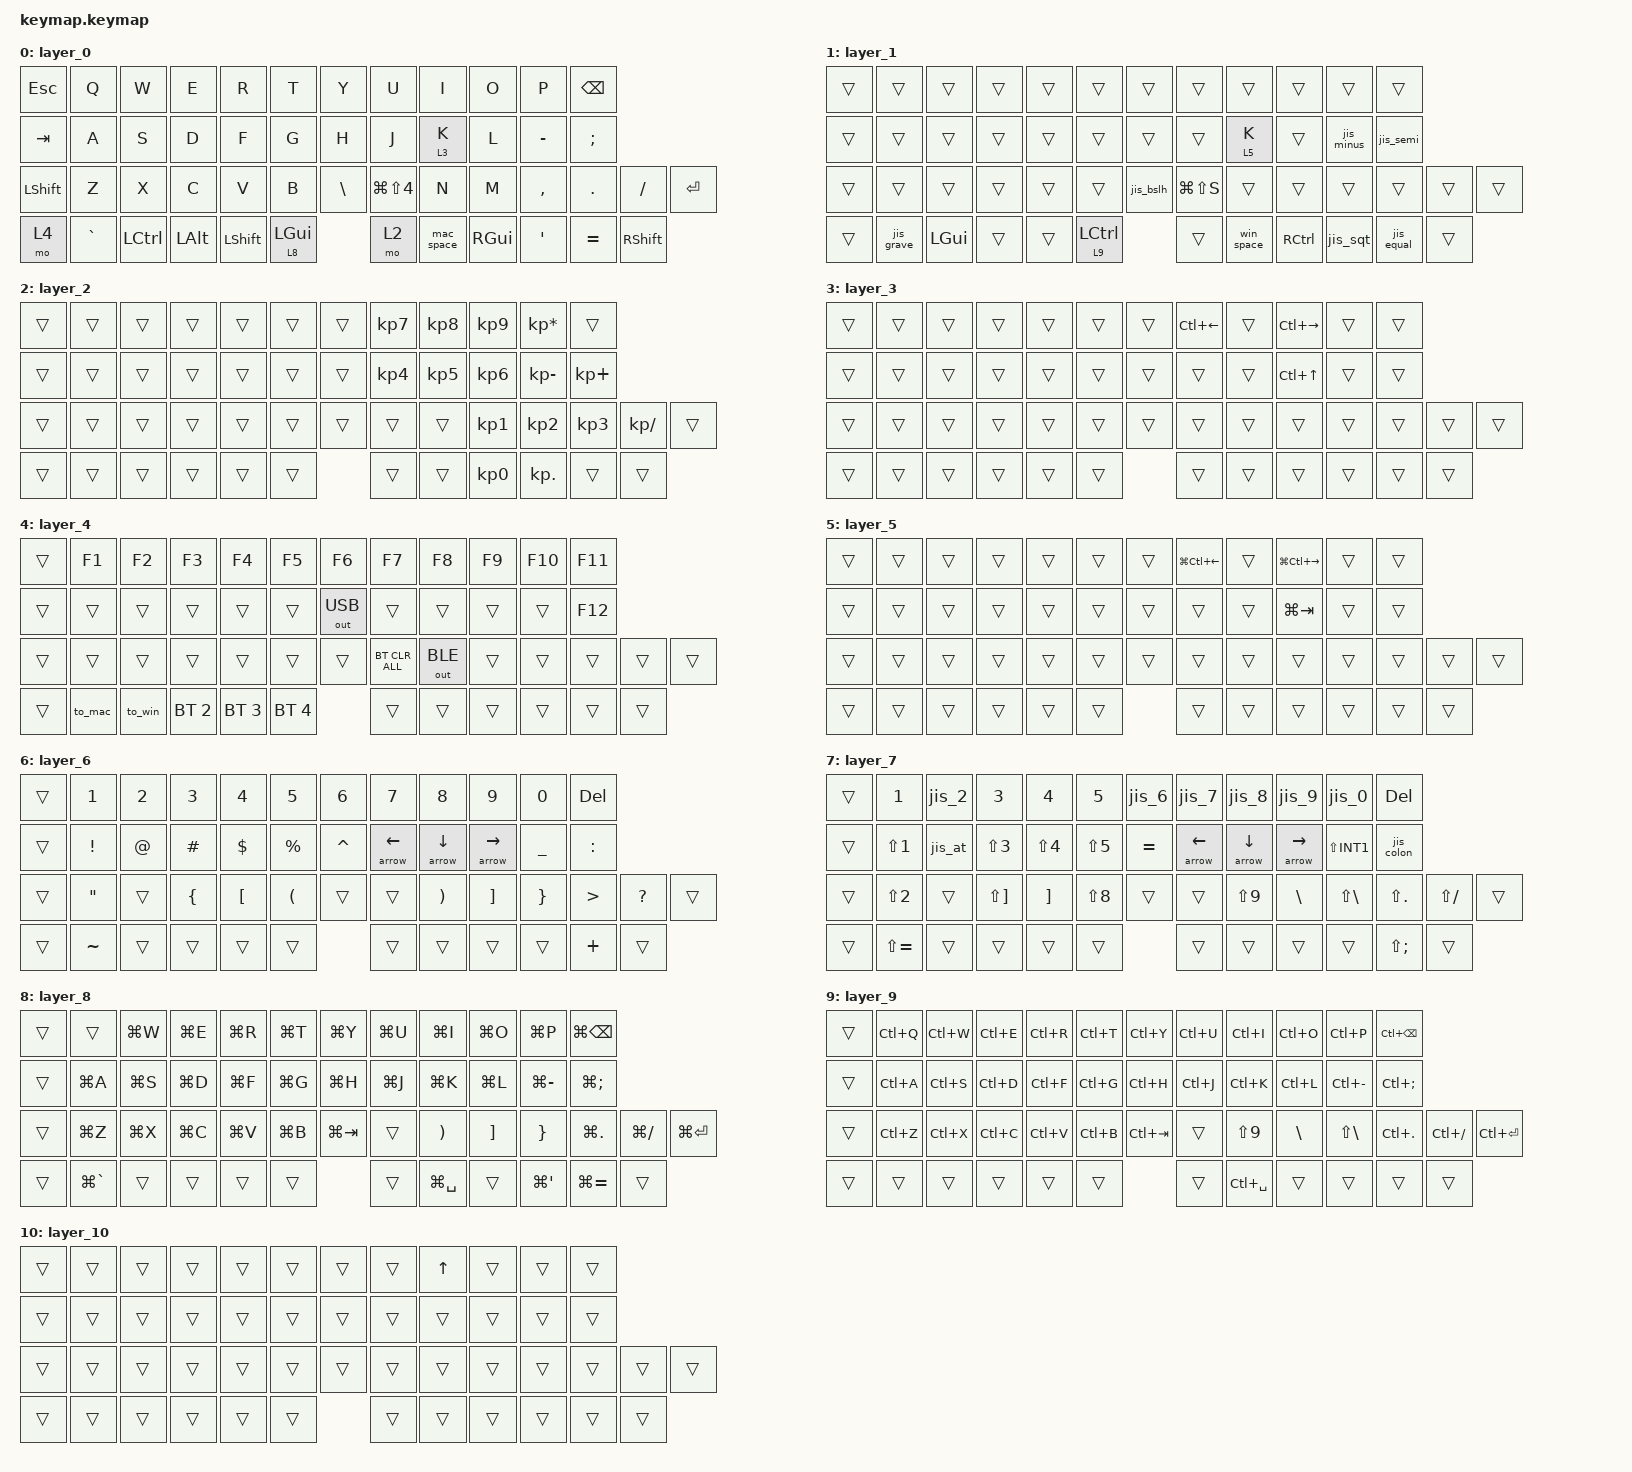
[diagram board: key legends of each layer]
#include <behaviors.dtsi>
#include <dt-bindings/zmk/bt.h>
#include <dt-bindings/zmk/keys.h>
#include <dt-bindings/zmk/modifiers.h>
#include <dt-bindings/zmk/outputs.h>
#include <dt-bindings/zmk/pointing.h>

/*
 * Windows is driven with a JIS (106/109) host layout, so the same HID code
 * prints a different symbol there than it does on the Mac. The Windows profile
 * gets its own copy of every layer whose symbols depend on the host: layer 7
 * mirrors layer 6, and layer 9 mirrors layer 8. Layer 2 is shared, because its
 * number pad uses keypad codes that mean the same thing under either layout.
 *
 * The unshifted half is a plain substitution:
 *
 *   want  Mac (US)   Win (JIS)      want  Mac (US)  Win (JIS)
 *   ----  ---------  ---------      ----  --------  ---------
 *    @    LS(N2)     LBKT            [    LBKT      RBKT
 *    ^    LS(N6)     EQUAL           ]    RBKT      BSLH
 *    &    LS(N7)     LS(N6)          {    LS(LBKT)  LS(RBKT)
 *    *    LS(N8)     LS(SQT)         }    LS(RBKT)  LS(BSLH)
 *    (    LS(N9)     LS(N8)          \    BSLH      INT1
 *    )    LS(N0)     LS(N9)          _    LS(MINUS) LS(INT1)
 *    '    SQT        LS(N7)          |    LS(BSLH)  LS(INT3)
 *    =    EQUAL      LS(MINUS)       ~    LS(GRAVE) LS(EQUAL)
 *    +    LS(SEMI)   LS(SEMI)        `    GRAVE     LS(LBKT)
 *    :    LS(SEMI)   SQT             "    LS(SQT)   LS(N2)
 *
 * The shifted half cannot be, because JIS pairs the two halves of a key
 * differently: Shift+"-" is "=" on JIS but "_" on US, Shift+";" is "+" on JIS
 * but ":" on US. Every key whose pair differs is therefore a mod-morph, so that
 * adding Shift produces what a US keyboard would produce. Where the JIS spelling
 * of the shifted symbol is itself a shifted code the Shift stays on the report
 * (keep-mods); where it is an unshifted code the Shift is masked off.
 *
 * Note also that on JIS the bare GRAVE code is the 半角/全角 key, not a
 * backtick, so the Windows profile reaches the backtick through LS(LBKT).
 */

/ {
    behaviors {
        // Tap for K, hold to reach the scroll layer while the thumb stays on the
        // ball. require-prior-idle-ms keeps the hold from firing mid-word.
        scroll_k: scroll_k {
            compatible = "zmk,behavior-hold-tap";
            #binding-cells = <2>;
            flavor = "tap-preferred";
            tapping-term-ms = <200>;
            quick-tap-ms = <200>;
            require-prior-idle-ms = <150>;
            bindings = <&mo>, <&kp>;
        };

        // Tap for space, hold to reach the digit layer under the right thumb.
        // require-prior-idle-ms keeps the hold from firing on the space that
        // ends a word. The hold is nav_hold rather than a bare &mo so that
        // letting go also drops the arrow latch.
        nav_space: nav_space {
            compatible = "zmk,behavior-hold-tap";
            #binding-cells = <2>;
            flavor = "balanced";
            tapping-term-ms = <150>;
            quick-tap-ms = <200>;
            require-prior-idle-ms = <150>;
            bindings = <&nav_hold>, <&kp>;
        };

        // Switch the arrow latch (layer 10) on and off. A plain &tog would flip
        // it, so the second arrow in a run would turn it back off.
        latch_on: latch_on {
            compatible = "zmk,behavior-toggle-layer";
            #binding-cells = <1>;
            toggle-mode = "on";
        };

        latch_off: latch_off {
            compatible = "zmk,behavior-toggle-layer";
            #binding-cells = <1>;
            toggle-mode = "off";
        };

        // The left thumb Cmd/Ctrl key: hold for the Cmd or Ctrl layer, tap alone
        // for the bare modifier. A plain &mo sends nothing when tapped, which
        // kills every launcher bound to a double-tapped modifier even though
        // Cmd+C and friends still work through the layer.
        //
        // hold-preferred because this is a modifier: any key pressed while it is
        // down means a shortcut, however fast the roll. quick-tap-ms makes the
        // second press of a double tap a tap straight away. No
        // require-prior-idle-ms, since Cmd follows typing all the time.
        thumb_mod: thumb_mod {
            compatible = "zmk,behavior-hold-tap";
            #binding-cells = <2>;
            flavor = "hold-preferred";
            tapping-term-ms = <200>;
            quick-tap-ms = <200>;
            bindings = <&mo>, <&kp>;
        };

        // Space on the Mac profile. With Ctrl or Cmd already down the press is a
        // shortcut, never a layer hold, so skip the hold-tap and send the space
        // straight away. keep-mods leaves the modifier on the report so the host
        // still sees Ctrl+Space / Cmd+Space.
        mac_space: mac_space {
            compatible = "zmk,behavior-mod-morph";
            #binding-cells = <0>;
            bindings = <&nav_space 6 SPACE>, <&kp SPACE>;
            mods = <(MOD_LCTL|MOD_RCTL|MOD_LGUI|MOD_RGUI)>;
            keep-mods = <(MOD_LCTL|MOD_RCTL|MOD_LGUI|MOD_RGUI)>;
        };

        // Space on the Windows profile. Same rule as mac_space, holding the JIS
        // copy of the digit layer instead.
        win_space: win_space {
            compatible = "zmk,behavior-mod-morph";
            #binding-cells = <0>;
            bindings = <&nav_space 7 SPACE>, <&kp SPACE>;
            mods = <(MOD_LCTL|MOD_RCTL|MOD_LGUI|MOD_RGUI)>;
            keep-mods = <(MOD_LCTL|MOD_RCTL|MOD_LGUI|MOD_RGUI)>;
        };

        // ---- JIS shift pairs, base layer ----

        jis_minus: jis_minus {  // - / _
            compatible = "zmk,behavior-mod-morph";
            #binding-cells = <0>;
            bindings = <&kp MINUS>, <&kp INT1>;
            mods = <(MOD_LSFT|MOD_RSFT)>;
            keep-mods = <(MOD_LSFT|MOD_RSFT)>;
        };

        jis_semi: jis_semi {  // ; / :   colon is an unshifted code on JIS
            compatible = "zmk,behavior-mod-morph";
            #binding-cells = <0>;
            bindings = <&kp SEMI>, <&kp SQT>;
            mods = <(MOD_LSFT|MOD_RSFT)>;
        };

        jis_grave: jis_grave {  // ` / ~
            compatible = "zmk,behavior-mod-morph";
            #binding-cells = <0>;
            bindings = <&kp LS(LBKT)>, <&kp EQUAL>;
            mods = <(MOD_LSFT|MOD_RSFT)>;
            keep-mods = <(MOD_LSFT|MOD_RSFT)>;
        };

        jis_sqt: jis_sqt {  // ' / "
            compatible = "zmk,behavior-mod-morph";
            #binding-cells = <0>;
            bindings = <&kp LS(N7)>, <&kp N2>;
            mods = <(MOD_LSFT|MOD_RSFT)>;
            keep-mods = <(MOD_LSFT|MOD_RSFT)>;
        };

        jis_equal: jis_equal {  // = / +
            compatible = "zmk,behavior-mod-morph";
            #binding-cells = <0>;
            bindings = <&kp LS(MINUS)>, <&kp SEMI>;
            mods = <(MOD_LSFT|MOD_RSFT)>;
            keep-mods = <(MOD_LSFT|MOD_RSFT)>;
        };

        // ---- JIS shift pairs, symbol layer ----

        jis_bslh: jis_bslh {  // \ / |
            compatible = "zmk,behavior-mod-morph";
            #binding-cells = <0>;
            bindings = <&kp INT1>, <&kp INT3>;
            mods = <(MOD_LSFT|MOD_RSFT)>;
            keep-mods = <(MOD_LSFT|MOD_RSFT)>;
        };

        // On US these two are already shifted codes, so Shift does nothing to
        // them. On JIS they are unshifted, so the Shift has to be masked off.
        jis_at: jis_at {  // @ / @
            compatible = "zmk,behavior-mod-morph";
            #binding-cells = <0>;
            bindings = <&kp LBKT>, <&kp LBKT>;
            mods = <(MOD_LSFT|MOD_RSFT)>;
        };

        jis_caret: jis_caret {  // ^ / ^
            compatible = "zmk,behavior-mod-morph";
            #binding-cells = <0>;
            bindings = <&kp EQUAL>, <&kp EQUAL>;
            mods = <(MOD_LSFT|MOD_RSFT)>;
        };

        // ---- JIS shift pairs, symbol layer digit row ----

        jis_2: jis_2 {  // 2 / @
            compatible = "zmk,behavior-mod-morph";
            #binding-cells = <0>;
            bindings = <&kp N2>, <&kp LBKT>;
            mods = <(MOD_LSFT|MOD_RSFT)>;
        };

        jis_6: jis_6 {  // 6 / ^
            compatible = "zmk,behavior-mod-morph";
            #binding-cells = <0>;
            bindings = <&kp N6>, <&kp EQUAL>;
            mods = <(MOD_LSFT|MOD_RSFT)>;
        };

        jis_7: jis_7 {  // 7 / &
            compatible = "zmk,behavior-mod-morph";
            #binding-cells = <0>;
            bindings = <&kp N7>, <&kp N6>;
            mods = <(MOD_LSFT|MOD_RSFT)>;
            keep-mods = <(MOD_LSFT|MOD_RSFT)>;
        };

        jis_8: jis_8 {  // 8 / *
            compatible = "zmk,behavior-mod-morph";
            #binding-cells = <0>;
            bindings = <&kp N8>, <&kp SQT>;
            mods = <(MOD_LSFT|MOD_RSFT)>;
            keep-mods = <(MOD_LSFT|MOD_RSFT)>;
        };

        jis_9: jis_9 {  // 9 / (
            compatible = "zmk,behavior-mod-morph";
            #binding-cells = <0>;
            bindings = <&kp N9>, <&kp N8>;
            mods = <(MOD_LSFT|MOD_RSFT)>;
            keep-mods = <(MOD_LSFT|MOD_RSFT)>;
        };

        jis_colon: jis_colon {  // : / :   bare SQT is ':' on JIS, so mask Shift
            compatible = "zmk,behavior-mod-morph";
            #binding-cells = <0>;
            bindings = <&kp SQT>, <&kp SQT>;
            mods = <(MOD_LSFT|MOD_RSFT)>;
        };

        jis_0: jis_0 {  // 0 / )
            compatible = "zmk,behavior-mod-morph";
            #binding-cells = <0>;
            bindings = <&kp N0>, <&kp N9>;
            mods = <(MOD_LSFT|MOD_RSFT)>;
            keep-mods = <(MOD_LSFT|MOD_RSFT)>;
        };
    };

    macros {
        // Pick the host and its modifier layout in one press. ZMK cannot detect
        // the OS, so the profile key carries the layer switch with it.
        //
        // src/profile_layers.c makes the same move on its own whenever the
        // active profile changes, including after the deep sleep that resets
        // the layer state, so the base layer can never drift away from the
        // profile. The &to here is still worth keeping: selecting the profile
        // that is already active raises no event, which makes these keys the
        // way to force the two back into step by hand.
        to_mac: to_mac {
            compatible = "zmk,behavior-macro";
            #binding-cells = <0>;
            bindings = <&bt BT_SEL 0>, <&to 0>;
        };

        to_win: to_win {
            compatible = "zmk,behavior-macro";
            #binding-cells = <0>;
            bindings = <&bt BT_SEL 1>, <&to 1>;
        };

        // The space hold: &mo on the digit layer it is given, and on release the
        // arrow latch goes too, so the next hold starts with 8 back on I.
        //
        // wait-ms and tap-ms are 0 so that the whole macro runs synchronously
        // inside the hold-tap's decision. With a delay the layer would come up
        // on a timer, after the hold-tap had already replayed the key that
        // decided it - space held and J pressed would type a plain j.
        nav_hold: nav_hold {
            compatible = "zmk,behavior-macro-one-param";
            #binding-cells = <1>;
            wait-ms = <0>;
            tap-ms = <0>;
            bindings
                = <&macro_param_1to1>
                , <&macro_press &mo MACRO_PLACEHOLDER>
                , <&macro_pause_for_release>
                , <&macro_param_1to1>
                , <&macro_release &mo MACRO_PLACEHOLDER>
                , <&macro_tap &latch_off 10>
                ;
        };

        // An arrow on the space layer that also sets the arrow latch, so that
        // Up moves onto I above K for the rest of the hold. The arrow itself
        // is held for as long as the key is, so it still auto-repeats. Zero
        // waits for the same reason as nav_hold.
        arrow: arrow {
            compatible = "zmk,behavior-macro-one-param";
            #binding-cells = <1>;
            wait-ms = <0>;
            tap-ms = <0>;
            bindings
                = <&macro_tap &latch_on 10>
                , <&macro_param_1to1>
                , <&macro_press &kp MACRO_PLACEHOLDER>
                , <&macro_pause_for_release>
                , <&macro_param_1to1>
                , <&macro_release &kp MACRO_PLACEHOLDER>
                ;
        };

        // A mouse button with the layer's own modifier held under it. The Cmd
        // and Ctrl layers send LG(x) / LC(x) per key and never hold the
        // modifier itself, so a plain &mkp from there would click bare. These
        // press the modifier and the button together and let go of both when
        // the combo does, so a held click still drags with the modifier down.
        //
        // &macro_param_1to1 hands the macro's parameter to the one binding that
        // follows it and nothing else, so it sits directly in front of &mkp and
        // not in front of the modifier.
        //
        // wait-ms is 50 rather than the default 15 because the modifier and the
        // button travel as separate reports. A held Cmd worked for a drag while
        // this macro's did not: the button went down before the host had seen
        // the modifier, and a drag reads its modifiers when the button goes
        // down. A click only reads them later, which is why that already worked.
        //
        // The release waits longer, 150ms, between the button and the modifier.
        // A drop reads its modifiers when the button comes up, and measured on a
        // Mac the modifier release arrived 2ms ahead of the button even with 50ms
        // between them: the button report sits behind the ball's movement
        // reports. The modifier has to outlive the button, so the gap is wide.
        cmd_click: cmd_click {
            compatible = "zmk,behavior-macro-one-param";
            #binding-cells = <1>;
            wait-ms = <50>;
            bindings
                = <&macro_press &kp LGUI>
                , <&macro_param_1to1>
                , <&mkp MACRO_PLACEHOLDER>
                , <&macro_pause_for_release>
                , <&macro_wait_time 150>
                , <&macro_param_1to1>
                , <&macro_release &mkp MACRO_PLACEHOLDER &kp LGUI>
                ;
        };

        ctrl_click: ctrl_click {
            compatible = "zmk,behavior-macro-one-param";
            #binding-cells = <1>;
            wait-ms = <50>;
            bindings
                = <&macro_press &kp LCTRL>
                , <&macro_param_1to1>
                , <&mkp MACRO_PLACEHOLDER>
                , <&macro_pause_for_release>
                , <&macro_wait_time 150>
                , <&macro_param_1to1>
                , <&macro_release &mkp MACRO_PLACEHOLDER &kp LCTRL>
                ;
        };
    };

    combos {
        compatible = "zmk,combos";

        bt_clear {
            bindings = <&bt BT_CLR>;
            key-positions = <28 29>;
            layers = <4>;
        };

        // The number pad is left out of both click combos on purpose: positions
        // 19-21 carry its 4, 5 and 6, so "45" or "56" typed inside the combo
        // window would send a click instead of the digits.
        left_click {
            bindings = <&mkp LCLK>;
            key-positions = <19 20>;
            layers = <0 1 3 4 5>;
            require-prior-idle-ms = <100>;
        };

        right_click {
            bindings = <&mkp MB2>;
            key-positions = <20 21>;
            layers = <0 1 3 4 5>;
            require-prior-idle-ms = <100>;
        };

        // The same two chords under the Cmd layer (8) and the Ctrl layer (9),
        // where they click with the modifier held. The price is that Cmd+J, K
        // and L pressed as a pair inside the combo window click instead; each
        // is a single press away on its own.
        cmd_left_click {
            bindings = <&cmd_click LCLK>;
            key-positions = <19 20>;
            layers = <8>;
            require-prior-idle-ms = <100>;
        };

        cmd_right_click {
            bindings = <&cmd_click MB2>;
            key-positions = <20 21>;
            layers = <8>;
            require-prior-idle-ms = <100>;
        };

        ctrl_left_click {
            bindings = <&ctrl_click LCLK>;
            key-positions = <19 20>;
            layers = <9>;
            require-prior-idle-ms = <100>;
        };

        ctrl_right_click {
            bindings = <&ctrl_click MB2>;
            key-positions = <20 21>;
            layers = <9>;
            require-prior-idle-ms = <100>;
        };
    };

    /* A layer's number is its position in this node, and four other files name
     * layers by that number. The scroll layers appear as `layers = <...>` in
     * boards/shields/zen/zen_right.overlay and in the input-trackball-pmw3610,
     * input-trackball-paw3222 and input-split-listener-left-all snippets, which
     * is how the ball knows when to scroll; src/profile_layers.c maps profiles
     * to base layers. Adding or removing a layer here shifts every number below
     * it, and those files have to move with it. Nothing checks, and the build
     * still passes - the ball just quietly stops scrolling. */
    keymap {
        compatible = "zmk,keymap";

        layer_0 {
            bindings = <
&kp ESCAPE &kp Q       &kp W             &kp E     &kp R             &kp T  &kp Y         &kp U      &kp I  &kp O           &kp P           &kp BSPC
&kp TAB    &kp A       &kp S             &kp D     &kp F             &kp G  &kp H         &kp J      &scroll_k 3 K  &kp L           &kp MINUS       &kp SEMI
&kp LSHFT  &kp Z       &kp X             &kp C     &kp V             &kp B  &kp BSLH      &kp LG(LS(N4))  &kp N  &kp M           &kp COMMA       &kp DOT          &kp SLASH     &kp ENTER
&mo 4      &kp GRAVE   &kp LEFT_CONTROL  &kp LALT  &kp LSHFT         &thumb_mod 8 LGUI  &mo 2         &mac_space  &kp RGUI  &kp SQT         &kp EQUAL       &kp RSHFT
            >;
        };

        // Windows profile. Modifiers move to their Windows positions, the base
        // layer symbols whose JIS spelling differs become mod-morphs so Shift
        // still produces the US pair, and the symbol/arrow layer keys point at
        // the JIS copies. The number pad is shared, so its &mo 2 stays.
        layer_1 {
            bindings = <
&trans  &trans      &trans    &trans  &trans  &trans     &trans  &trans          &trans         &trans  &trans      &trans
&trans  &trans      &trans    &trans  &trans  &trans     &trans  &trans          &scroll_k 5 K  &trans  &jis_minus  &jis_semi
&trans  &trans      &trans    &trans  &trans  &trans     &jis_bslh  &kp LG(LS(S))   &trans         &trans  &trans      &trans  &trans  &trans
&trans  &jis_grave  &kp LGUI  &trans  &trans  &thumb_mod 9 LCTRL  &trans  &win_space      &kp RCTRL      &jis_sqt  &jis_equal  &trans
            >;
        };

        // Shared by both profiles. The number pad uses keypad codes, which carry
        // their own meaning regardless of the host layout, so there is no JIS
        // copy of this layer.
        //
        // One way in, the left thumb, because that is the hand the number pad
        // needs free of it: every digit is on the right.
        //
        // Nothing but the pad is here any more. The F-keys used to sit on the
        // left half of this layer, one key away from the Cmd layer's own thumb
        // key, so aiming for Cmd and landing here turned the whole left-hand
        // shortcut cluster into function keys - Cmd+F into F9, Cmd+S into F7,
        // Cmd+Z into F11. They live on the radio layer now, and this layer's
        // left half is transparent, so the same slip types the plain letter.
        layer_2 {
            bindings = <
&trans  &trans   &trans   &trans  &trans  &trans   &trans  &kp KP_N7  &kp KP_N8  &kp KP_N9  &kp KP_MULTIPLY  &trans
&trans  &trans   &trans   &trans  &trans  &trans   &trans  &kp KP_N4  &kp KP_N5  &kp KP_N6  &kp KP_MINUS     &kp KP_PLUS
&trans  &trans   &trans   &trans  &trans  &trans   &trans  &trans     &trans     &kp KP_N1  &kp KP_N2        &kp KP_N3  &kp KP_DIVIDE  &trans
&trans  &trans   &trans   &trans  &trans  &trans   &trans  &trans     &kp KP_N0  &kp KP_DOT  &trans          &trans
            >;
        };

        layer_3 {
            bindings = <
&trans  &trans  &trans  &trans  &trans  &trans  &trans  &kp LC(LEFT_ARROW)  &trans  &kp LC(RIGHT_ARROW)  &trans  &trans
&trans  &trans  &trans  &trans  &trans  &trans  &trans  &trans  &trans              &kp LC(UP_ARROW)     &trans  &trans
&trans  &trans  &trans  &trans  &trans  &trans  &trans  &trans  &trans              &trans               &trans  &trans  &trans  &trans
&trans  &trans  &trans  &trans  &trans  &trans  &trans  &trans  &trans              &trans               &trans  &trans
            >;
        };

        // Radio layer, held on the bottom left, and the F-keys ride along: both
        // are things you reach for rarely and deliberately, and neither wants a
        // key of its own on a board this size.
        //
        // F1 to F12 sit exactly where the digits do - F1 to F5 on Q to T like
        // the space layer's 1 to 5, F6 to F10 on Y to P like the Cmd layer's 6
        // to 0 - so the number you already know gives you the key. F11 carries
        // on past F10 to the end of the row, and F12 sits under it.
        //
        // That top row is where OUT_USB was, so the two output keys step down a
        // row and keep their column. Profiles run in order along the bottom row.
        layer_4 {
            bindings = <
&trans  &kp F1   &kp F2   &kp F3        &kp F4        &kp F5        &kp F6          &kp F7  &kp F8  &kp F9  &kp F10 &kp F11
&trans  &trans   &trans   &trans        &trans        &trans        &out OUT_USB    &trans  &trans  &trans  &trans  &kp F12
&trans  &trans   &trans   &trans        &trans        &trans        &trans          &bt BT_CLR_ALL  &out OUT_BLE  &trans  &trans  &trans  &trans  &trans
&trans  &to_mac  &to_win  &bt BT_SEL 2  &bt BT_SEL 3  &bt BT_SEL 4  &trans          &trans  &trans  &trans  &trans  &trans
            >;
        };

        layer_5 {
            bindings = <
&trans  &trans  &trans  &trans  &trans  &trans  &trans  &kp LG(LC(LEFT_ARROW))  &trans  &kp LG(LC(RIGHT_ARROW))  &trans  &trans
&trans  &trans  &trans  &trans  &trans  &trans  &trans  &trans  &trans                  &kp LG(TAB)              &trans  &trans
&trans  &trans  &trans  &trans  &trans  &trans  &trans  &trans  &trans                  &trans                   &trans  &trans  &trans  &trans
&trans  &trans  &trans  &trans  &trans  &trans  &trans  &trans  &trans                  &trans                   &trans  &trans
            >;
        };

        // Digits, arrows and symbols, held with the right thumb on space.
        //
        // The top row is a US digit row, 1 to 0 on Q to P, with ! @ # $ % ^
        // underneath. All ten digits sit under one hold because numbers come in
        // runs: splitting them across the two thumbs meant trading the hold
        // back and forth in the middle of "2026". & and * gave their keys to
        // the arrows and come from Shift with 7 and 8, as on any US keyboard.
        //
        // The arrows are one hand's job: left, down and right on J, K and L.
        // They are used with modifiers far more than anything else here - Shift
        // to select, Cmd or Opt to jump - so the hold and the arrows share the
        // right hand and leave the left free for those.
        //
        // Up belongs on I, above K, but I is 8. So the arrows are &arrow, which
        // raises layer 10 on the first one pressed: from then until space is
        // let go, I is Up as well. A digit run never touches an arrow and keeps
        // its 8; an arrow run almost always starts with Down, Left or Right and
        // gets Up on I from the second key. Up has no key of its own, so a run
        // that starts with Up has to start with another arrow.
        //
        // Below those the openers run { [ ( inward along C, V and B, and ) and
        // ] sit at their mirrors on N and M, so 「」 and () close under the
        // same hold that opened them, and } sits on the comma, the mirror of
        // {. The Cmd hold still carries all three closers at the same spots.
        //
        // The double quote is on Z, under the left hand, which is free while
        // the right thumb holds space. It used to be at the far end of the
        // bottom row, a stretch from the thumb; that key now types a plain '.
        layer_6 {
            bindings = <
&trans  &kp N1     &kp N2  &kp N3    &kp N4      &kp N5                &kp N6                 &kp N7          &kp N8           &kp N9             &kp N0          &kp DELETE
&trans  &kp EXCL   &kp AT  &kp HASH  &kp DOLLAR  &kp PRCNT             &kp CARET              &arrow LEFT_ARROW  &arrow DOWN_ARROW   &arrow RIGHT_ARROW    &kp UNDERSCORE  &kp COLON
&trans  &kp DOUBLE_QUOTES  &trans  &kp LEFT_BRACE  &kp LEFT_BRACKET  &kp LEFT_PARENTHESIS  &trans  &trans          &kp RIGHT_PARENTHESIS  &kp RIGHT_BRACKET  &kp RIGHT_BRACE    &kp GREATER_THAN  &kp QUESTION  &trans
&trans  &kp TILDE  &trans  &trans  &trans  &trans                &trans                 &trans          &trans           &trans             &kp PLUS        &trans
            >;
        };

        // JIS copy of layer 6. The digits are the mod-morphs, so that Shift
        // with them gives the US symbols the Mac layer gets for free; the
        // arrows carry over unchanged, and the brackets are spelled the JIS way.
        layer_7 {
            bindings = <
&trans  &kp N1         &jis_2   &kp N3      &kp N4      &kp N5        &jis_6      &jis_7          &jis_8          &jis_9           &jis_0         &kp DELETE
&trans  &kp LS(N1)     &jis_at  &kp LS(N3)  &kp LS(N4)  &kp LS(N5)    &kp EQUAL   &arrow LEFT_ARROW  &arrow DOWN_ARROW  &arrow RIGHT_ARROW  &kp LS(INT1)   &jis_colon
&trans  &kp LS(N2)     &trans  &kp LS(RBKT)  &kp RBKT  &kp LS(N8)  &trans      &trans          &kp LS(N9)      &kp BSLH         &kp LS(BSLH)      &kp LS(DOT)   &kp LS(SLASH)  &trans
&trans  &kp LS(EQUAL)  &trans  &trans  &trans  &trans        &trans      &trans          &trans          &trans           &kp LS(SEMI)   &trans
            >;
        };

        // The Cmd layer, held on the left thumb where LGUI used to sit.
        //
        // Two jobs in one hold. The right hand carries the closers ) ] } on N,
        // M and the comma - each one at the mirror of its opener on layer 6, so
        // a bracket pair is one hand each. Everything else on the board answers
        // as LG(itself), so holding this key and typing C still sends Cmd+C and
        // the thumb keeps the job it had.
        //
        // Cmd+Q is left out on purpose: Q sits at the corner of the thumb's
        // reach and a rolled Cmd-then-Q quit the foreground app by accident.
        // Q falls through to a plain q here; the deliberate Cmd+Q is RGUI on
        // the right hand plus Q.
        //
        // Three shortcuts gave up their keys to those: Cmd with N, M and the
        // comma. Cmd with 1 to 5 is not here either - the left hand's top row
        // is Cmd+Q through Cmd+T and there is no room - but those are rare
        // enough on this board to leave out.
        //
        // Space is the reason this shape is needed at all. Cmd+Space switches
        // the input method, and it used to work because mac_space sees Cmd
        // already down and sends a plain space instead of taking the hold.
        // With LGUI gone from the thumb that no longer fires, so the space
        // position spells the shortcut out: LG(SPACE), with no hold-tap in the
        // way.
        //
        // Where the fall-through is deliberate: the modifiers stay live so
        // Cmd+Shift+key still composes, the layer keys stay reachable, and
        // RGUI on the bottom row is a real held Cmd for the things a
        // re-pressed one cannot do - cycling Cmd+Tab and a long Cmd+drag.
        //
        // The click chords J+K and K+L are live here too, as Cmd+left click and
        // Cmd+right click (cmd_left_click and cmd_right_click in the combos).
        //
        // The Windows profile runs the same shape one layer down, on layer 9,
        // with LCTRL in place of LGUI and the symbols spelled the JIS way.
        layer_8 {
            bindings = <
&trans  &trans         &kp LG(W)  &kp LG(E)  &kp LG(R)  &kp LG(T)  &kp LG(Y)    &kp LG(U)      &kp LG(I)     &kp LG(O)   &kp LG(P)      &kp LG(BSPC)
&trans  &kp LG(A)      &kp LG(S)  &kp LG(D)  &kp LG(F)  &kp LG(G)  &kp LG(H)    &kp LG(J)      &kp LG(K)       &kp LG(L)        &kp LG(MINUS)  &kp LG(SEMI)
&trans  &kp LG(Z)      &kp LG(X)  &kp LG(C)  &kp LG(V)  &kp LG(B)  &kp LG(TAB)  &trans         &kp RIGHT_PARENTHESIS  &kp RIGHT_BRACKET  &kp RIGHT_BRACE  &kp LG(DOT)  &kp LG(SLASH)  &kp LG(ENTER)
&trans  &kp LG(GRAVE)  &trans     &trans     &trans     &trans     &trans       &kp LG(SPACE)  &trans     &kp LG(SQT)    &kp LG(EQUAL)  &trans
            >;
        };

        // The Ctrl layer, the Windows twin of layer 8, held where LCTRL used to
        // sit on the left thumb. Same shape, same reason: the letters answer as
        // LC(themselves) so Ctrl+C still works from that thumb, and Ctrl+Space
        // keeps the input switch.
        //
        // The letters carry over from layer 8 unchanged, since
        // neither depends on the host layout. The symbols do not: ) ] } are
        // spelled the JIS way here, per the table at the top of this
        // file. The three Mac-only shortcuts drop out - Cmd+` cycles windows,
        // and Cmd+' and Cmd+= have no Windows reading - and on JIS the bare
        // GRAVE code is 半角/全角 rather than a backtick, so that key falls
        // through rather than sending a modified one.
        //
        // J+K and K+L click here as Ctrl+left click and Ctrl+right click
        // (ctrl_left_click and ctrl_right_click in the combos).
        layer_9 {
            bindings = <
&trans  &kp LC(Q)  &kp LC(W)  &kp LC(E)  &kp LC(R)  &kp LC(T)  &kp LC(Y)    &kp LC(U)    &kp LC(I)    &kp LC(O)     &kp LC(P)      &kp LC(BSPC)
&trans  &kp LC(A)  &kp LC(S)  &kp LC(D)  &kp LC(F)  &kp LC(G)  &kp LC(H)    &kp LC(J)       &kp LC(K)       &kp LC(L)        &kp LC(MINUS)  &kp LC(SEMI)
&trans  &kp LC(Z)  &kp LC(X)  &kp LC(C)  &kp LC(V)  &kp LC(B)  &kp LC(TAB)  &trans       &kp LS(N9)   &kp BSLH      &kp LS(BSLH)   &kp LC(DOT)  &kp LC(SLASH)  &kp LC(ENTER)
&trans  &trans     &trans     &trans     &trans     &trans     &trans       &kp LC(SPACE)  &trans     &trans        &trans         &trans
            >;
        };

        // The arrow latch: Up on I, over the 8 of layers 6 and 7. &arrow turns
        // it on and the space hold's release (nav_hold) turns it off, so it is
        // only ever up while space is held. Up is the same code under either
        // host layout, so both profiles share it.
        layer_10 {
            bindings = <
&trans  &trans  &trans  &trans  &trans  &trans  &trans  &trans  &kp UP_ARROW  &trans  &trans  &trans
&trans  &trans  &trans  &trans  &trans  &trans  &trans  &trans  &trans        &trans  &trans  &trans
&trans  &trans  &trans  &trans  &trans  &trans  &trans  &trans  &trans        &trans  &trans  &trans  &trans  &trans
&trans  &trans  &trans  &trans  &trans  &trans  &trans  &trans  &trans        &trans  &trans  &trans
            >;
        };
    };
};
